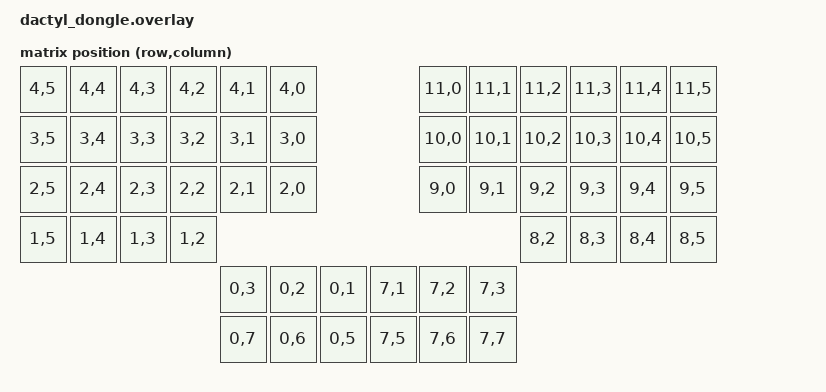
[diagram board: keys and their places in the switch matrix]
// Minimal overlay for the dactyl dongle. The dongle has no physical keys, so
// kscan is mocked. The matrix transform is a byte-identical copy of the
// dactyl shield's dactyl_manuform_letters_only (boards/shields/dactyl/
// dactyl.dtsi), kept here so this dongle shield stays standalone (it does
// not pull in dactyl.dtsi or its kscan). The two must be kept in sync — the
// dongle and the halves have to agree on key-position numbering for split
// events to land on the right keys.
//
// No trackball on this dactyl, so there are no input-split proxies or
// listeners (unlike the imprint dongle).

#include <dt-bindings/zmk/matrix_transform.h>

/ {
    chosen {
        zmk,kscan = &kscan_dongle;
        zmk,matrix-transform = &dactyl_manuform_letters_only;
    };

    kscan_dongle: kscan_dongle {
        compatible = "zmk,kscan-mock";
        rows = <0>;
        columns = <0>;
        events = <0>;
    };

    dactyl_manuform_letters_only: keymap_transform_0 {
        compatible = "zmk,matrix-transform";
        columns = <8>;
        rows = <14>;
        map = <
RC(4,5) RC(4,4) RC(4,3) RC(4,2) RC(4,1) RC(4,0)                           RC(11,0) RC(11,1) RC(11,2) RC(11,3) RC(11,4) RC(11,5)
RC(3,5) RC(3,4) RC(3,3) RC(3,2) RC(3,1) RC(3,0)                           RC(10,0) RC(10,1) RC(10,2) RC(10,3) RC(10,4) RC(10,5)
RC(2,5) RC(2,4) RC(2,3) RC(2,2) RC(2,1) RC(2,0)                           RC(9,0)  RC(9,1)  RC(9,2)  RC(9,3)  RC(9,4)  RC(9,5)
RC(1,5) RC(1,4) RC(1,3) RC(1,2)                                                             RC(8,2)  RC(8,3)  RC(8,4)  RC(8,5)
                                    RC(0,3) RC(0,2) RC(0,1)   RC(7,1) RC(7,2) RC(7,3)
                                    RC(0,7) RC(0,6) RC(0,5)   RC(7,5) RC(7,6) RC(7,7)
        >;
    };
};
